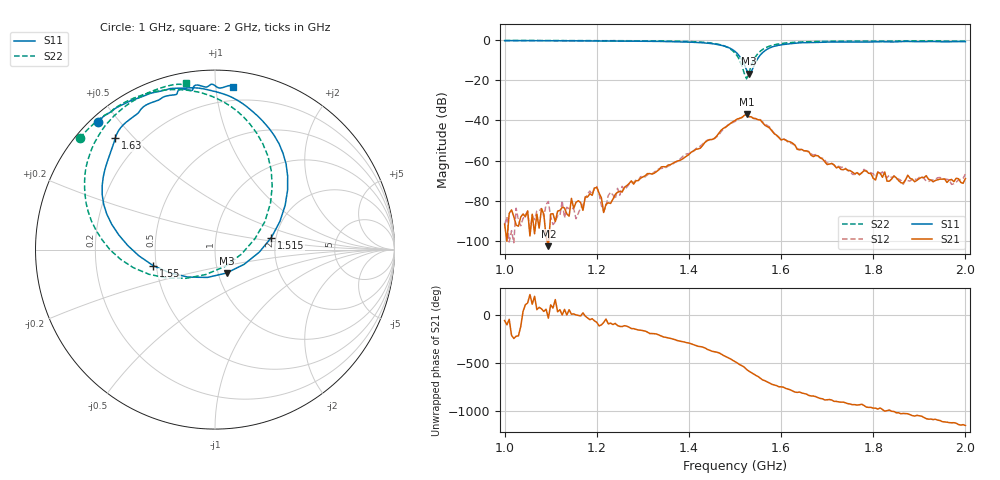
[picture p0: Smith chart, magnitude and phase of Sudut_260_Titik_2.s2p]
# Hz S RI R 50
! CMT, C1220, 16058040, 17.2.0/1
! Date: 14/08/2018 12:48:51
! Data: Format (Calibration Info)
! Freq  S11: Re/Im (F2)  S21: Re/Im (F2)  S12: Re/Im (F2)  S22: Re/Im (F2)
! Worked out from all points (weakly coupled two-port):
!   201 points, 1 GHz to 2 GHz, reference 50 ohm
!   highest |S21| = -37.02 dB at 1.525 GHz (marker M1); lowest = -102.5 dB at 1.095 GHz (marker M2)
!   lowest |S11| = -16.7 dB at 1.53 GHz (marker M3), VSWR 1.34, Z = 54.8 - j14.6 ohm
!   |S11| at or under -10 dB: 1.515 GHz to 1.547 GHz (32.1 MHz wide, 2.1 % of centre)
!   |S22| runs from -19.3 to -0.2 dB; largest |S21 - S12| = 0.0006
!   S11 on the Smith chart (normalised r, x): 1 GHz: 0.02, +0.44; 1.515 GHz: 1.89, +0.28; 1.55 GHz: 0.48, -0.10; 1.63 GHz: 0.11, +0.44; 2 GHz: 0.10, +1.11
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1e9  -0.6521 0.7134  1.31e-05 -2.29e-05  -1.12e-05 2.29e-05  -0.7538 0.6215
1.095e9  -0.5628 0.7815  6.15e-06 -4.23e-06  3.78e-05 8.86e-05  -0.6857 0.6921
1.17e9  -0.4819 0.8239  5.47e-05 1.96e-05  7.84e-05 -7.76e-06  -0.6182 0.7467
1.2e9  -0.4398 0.8404  4.46e-05 -0.000212  4.44e-05 -0.000222  -0.585 0.7601
1.21e9  -0.4303 0.8433  -3.27e-05 -0.000115  -3.26e-05 -6.99e-05  -0.5807 0.764
1.24e9  -0.3813 0.8621  3.32e-07 -0.000143  -4.77e-05 -9.99e-05  -0.5513 0.7919
1.245e9  -0.3724 0.866  -6.17e-05 -0.000151  -4.72e-05 -0.0002  -0.5452 0.7957
1.25e9  -0.3644 0.869  -8.97e-05 -0.000147  -3.79e-05 -0.000133  -0.5388 0.7999
1.335e9  -0.2198 0.8986  -0.00051 0.000308  -0.000502 0.000376  -0.404 0.8616
1.45e9  0.1814 0.7931  0.00315 -0.00114  0.00315 -0.00138  0.019 0.8374
1.5e9  0.4045 0.3314  -0.00611 -0.00784  -0.0058 -0.00739  0.3188 0.3528
1.515e9  0.3138 0.0669  -0.0117 -0.00182  -0.0117 -0.00213  0.222 0.0596
1.525e9  0.1617 -0.0824  -0.0123 0.0069  -0.0125 0.00688  0.0545 -0.0943
1.53e9  0.0641 -0.1306  -0.00836 0.00917  -0.00847 0.0092  -0.0523 -0.1392
1.55e9  -0.3452 -0.0887  0.00243 0.0102  0.00207 0.0103  -0.4544 -0.101
1.63e9  -0.5557 0.6209  0.000187 -0.00244  0.000316 -0.00236  -0.6951 0.5391
1.67e9  -0.4477 0.7453  -0.000762 -0.001  -0.000822 -0.00111  -0.6279 0.6679
1.755e9  -0.2803 0.8529  -0.000411 0.000315  -0.000372 0.000261  -0.4929 0.8031
1.825e9  -0.1595 0.8918  0.000132 0.000505  4.55e-05 0.000422  -0.3945 0.8623
1.835e9  -0.1367 0.8872  1.67e-05 0.000308  0.00021 0.000383  -0.3814 0.8693
1.97e9  0.0555 0.9071  0.000236 -0.000245  0.000125 -0.000225  -0.1918 0.9209
2e9  0.1011 0.9065  9.84e-05 -0.000345  0.000122 -0.000447  -0.1595 0.9299
